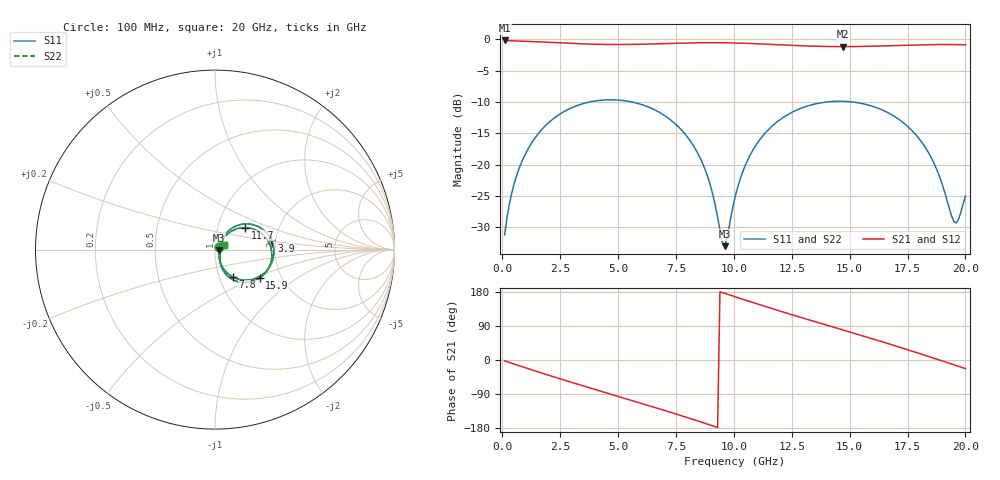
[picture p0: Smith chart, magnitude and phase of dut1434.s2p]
! Touchstone file exported from HFSS 2026.1.0
!  File:  C:/ffzhzh/LocalFiles/Ansys_Project_Files/temp_train_TSV_RDL_1434_1783356345_37376.aedt
!  Generated:  12:58:45 AM Jul  7, 2026
!  Design:  TSV_RDL
!  Project:  temp_train_TSV_RDL_1434_1783356345_37376
! Variables:
!  h_bsmrdl = 4.43um
!  h_ox = 20um
!  h_rdl = 5um
!  h_sub = 87.02um
!  h_tmrdl = 3.83um
!  h_tsv = 87.02um
!  h_via = 3um
!  l_bsmrdl = 651.36um
!  l_sub = 6280.95um
!  l_tmrdl = 948.02um
!  m_sub = 200um
!  pitch = 40.44um
!  r_tsv = 13.23um
!  s_tmrdl = 10um
!  w_bsmrdl = 15.82um
!  w_sub = 500um
!  w_tmrdl = 29.11um
!  x_tsv_center1 = 962.575um
!  x_tsv_center2 = 1629.755um
!  x_tsv_center3 = 2606.885um
!  x_tsv_center4 = 3274.065um
!  x_tsv_center5 = 4251.195um
!  x_tsv_center6 = 4918.375um
# GHz S MA R 50.000000
! Terminal data exported
! Port[1] = TM_RDL1_1_T1
! Port[2] = TM_RDL5_1_T1
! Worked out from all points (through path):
!   200 points, 100 MHz to 20 GHz, reference 50 ohm
!   highest |S21| = -0.20 dB at 100 MHz (marker M1); lowest = -1.2 dB at 14.7 GHz (marker M2)
!   group delay of S21, straight-line fit = 52.8 ps
!   lowest |S11| = -33.0 dB at 9.6 GHz (marker M3), VSWR 1.05, Z = 52.3 - j0.152 ohm
!   |S11| at or under -10 dB: start of sweep to 3.799 GHz; 5.567 GHz to 14.06 GHz (8.491 GHz wide, 86.5 % of centre); 15.07 GHz to end of sweep
!   |S22| runs from -33.0 to -9.7 dB; largest |S21 - S12| = 1.7e-14
!   S11 on the Smith chart (normalised r, x): 100 MHz: 1.05, +0.03; 3.9 GHz: 1.90, +0.22; 7.8 GHz: 1.16, -0.37; 11.7 GHz: 1.35, +0.34; 15.9 GHz: 1.55, -0.54; 20 GHz: 1.10, +0.06
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0.1  0.02744 30.1  0.9767 -2.2  0.9767 -2.2  0.02744 30.1
! Gamma 0 0 0 0
! Port Impedance 50 0 50 0
0.5  0.06902 55.1  0.9693 -10.4  0.9693 -10.4  0.06901 55.1
1.2  0.142 52.9  0.9588 -24.5  0.9588 -24.5  0.142 52.9
2.2  0.2318 38.1  0.9397 -44.0  0.9397 -44.0  0.2318 38.1
3.5  0.3065 16.0  0.9166 -68.4  0.9166 -68.4  0.3065 16.1
3.9  0.3189 9.2  0.9118 -75.8  0.9118 -75.8  0.3189 9.2
5.4  0.3204 -16.4  0.9075 -103.0  0.9075 -103.0  0.3204 -16.4
6.8  0.2598 -40.3  0.9198 -129.0  0.9198 -129.0  0.2598 -40.2
7.8  0.1833 -56.7  0.9312 -148.3  0.9312 -148.3  0.1833 -56.6
8.8  0.08703 -67.8  0.9378 -168.0  0.9378 -168.0  0.08705 -67.7
9.6  0.02233 -3.7  0.9364 176.0  0.9364 176.0  0.02242 -3.7
10.1  0.05954 50.5  0.9323 166.0  0.9323 166.0  0.05957 50.5
10.7  0.1186 50.3  0.9244 154.1  0.9244 154.1  0.1186 50.3
11.7  0.2064 36.4  0.9069 134.7  0.9069 134.7  0.2064 36.5
13.4  0.3009 8.5  0.8799 103.1  0.8799 103.1  0.3009 8.6
14.7  0.3196 -13.0  0.8724 79.5  0.8724 79.5  0.3196 -12.9
15.9  0.2949 -32.7  0.8776 57.5  0.8776 57.5  0.2949 -32.6
16.7  0.2566 -45.8  0.8858 42.6  0.8858 42.6  0.2566 -45.6
18.4  0.125 -68.8  0.9035 9.5  0.9035 9.5  0.1251 -68.5
19.5  0.03516 -29.3  0.9057 -12.6  0.9057 -12.6  0.03569 -28.9
19.7  0.03649 1.1  0.9049 -16.6  0.9049 -16.6  0.03707 1.0
20  0.05609 27.2  0.903 -22.7  0.903 -22.7  0.05654 26.8
